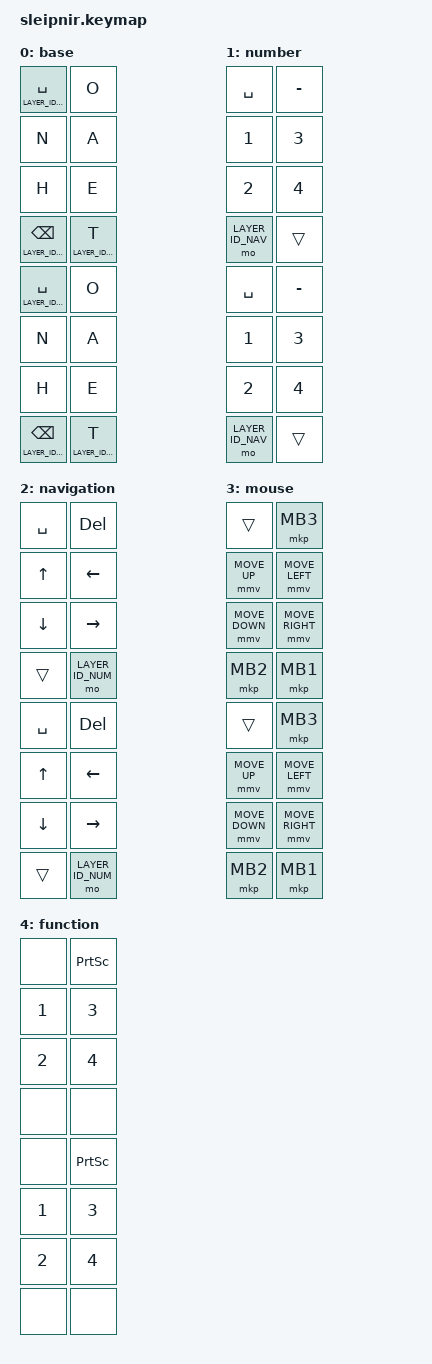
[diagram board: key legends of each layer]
#include <behaviors.dtsi>
#include <dt-bindings/zmk/keys.h>
#include <dt-bindings/zmk/bt.h>
#include <dt-bindings/zmk/pointing.h>
#include "sleipnir.dtsi"

&sk {
	release-after-ms = <TIMEOUT_STICKY_LEADER_KEY>;
};

&lt {
    tapping-term-ms = <TIMEOUT_LAYER_HOLD>;
    quick-tap-ms = <QUICK_TAP_TIME>;
    flavor = "balanced";
};

/ {
    combos {
        compatible = "zmk,combos";
        MAKE_COMBOS(L, 0, 1, 2, 3, 4, 5, 6, 7);
        MAKE_COMBOS(R, 8, 9, 10, 11, 12, 13, 14, 15);
    };

    macros {
        qu_macro: qu_macro {
            compatible = "zmk,behavior-macro";
            #binding-cells = <0>;
            bindings = <&macro_tap &kp Q &kp U>;
        };
    };

    conditional_layers {
        compatible = "zmk,conditional-layers";
        tri_layer {
            if-layers = <LAYER_ID_NUM LAYER_ID_NAV>;
            then-layer = <LAYER_ID_FUN>;
        };
    };

    behaviors {
        layer_kp_qt_long: layer_kp_qt_long {
            compatible = "zmk,behavior-hold-tap";
            #binding-cells = <2>;
            tapping-term-ms = <TIMEOUT_LAYER_LONG_HOLD>;
            quick-tap-ms = <QUICK_TAP_TIME>;
            flavor = "tap-preferred";
            bindings = <&mo>, <&kp>;
        };
    };

    keymap {
        compatible = "zmk,keymap";

        base {
            bindings = <
                &layer_kp_qt_long LAYER_ID_MWS SPACE &kp O
                &kp N                                &kp A
                &kp H                                &kp E
                &lt LAYER_ID_NAV BSPC                &lt LAYER_ID_NUM T

                &layer_kp_qt_long LAYER_ID_MWS SPACE &kp O
                &kp N                                &kp A
                &kp H                                &kp E
                &lt LAYER_ID_NAV BSPC                &lt LAYER_ID_NUM T
            >;
        };

        number {
            bindings = <
                &kp SPACE        &kp MINUS
                &kp N1           &kp N3
                &kp N2           &kp N4
                &mo LAYER_ID_NAV &trans

                &kp SPACE        &kp MINUS
                &kp N1           &kp N3
                &kp N2           &kp N4
                &mo LAYER_ID_NAV &trans
            >;
        };

        navigation {
            bindings = <
                &kp SPACE        &kp DEL
                &kp UP           &kp LEFT
                &kp DOWN         &kp RIGHT
                &trans           &mo LAYER_ID_NUM

                &kp SPACE        &kp DEL
                &kp UP           &kp LEFT
                &kp DOWN         &kp RIGHT
                &trans           &mo LAYER_ID_NUM
            >;
        };

        mouse {
            bindings = <
                &trans           &mkp MB3
                &mmv MOVE_UP     &mmv MOVE_LEFT
                &mmv MOVE_DOWN   &mmv MOVE_RIGHT
                &mkp MB2         &mkp MB1

                &trans           &mkp MB3
                &mmv MOVE_UP     &mmv MOVE_LEFT
                &mmv MOVE_DOWN   &mmv MOVE_RIGHT
                &mkp MB2         &mkp MB1
            >;
        };

        function {
            bindings = <
                &none            &kp PSCRN
                &kp N1           &kp N3
                &kp N2           &kp N4
                &none            &none

                &none            &kp PSCRN
                &kp N1           &kp N3
                &kp N2           &kp N4
                &none            &none
            >;
        };
    };
};
